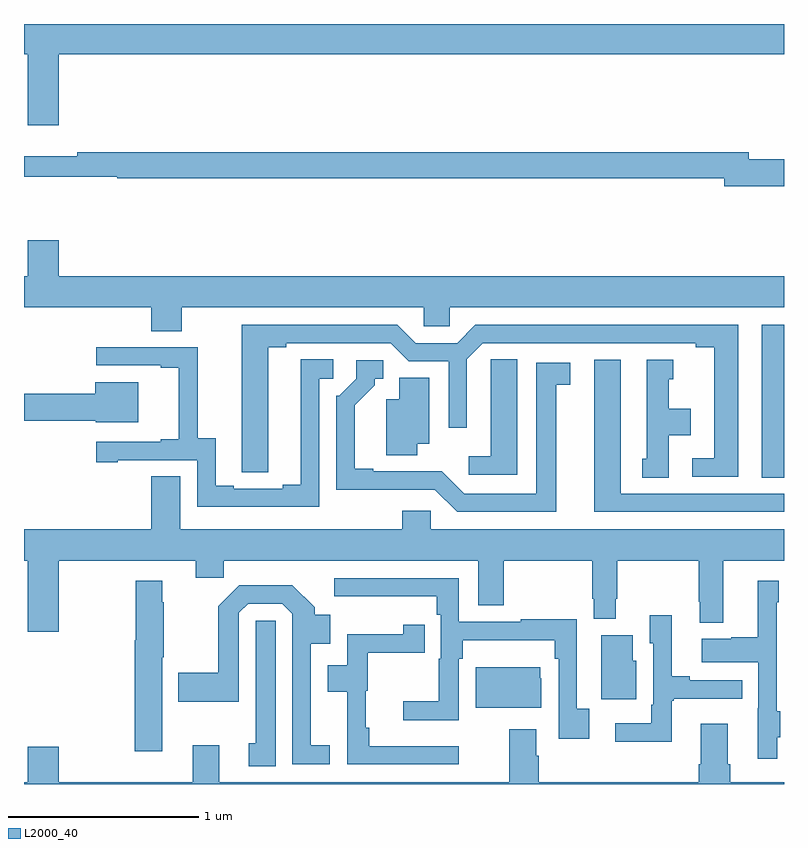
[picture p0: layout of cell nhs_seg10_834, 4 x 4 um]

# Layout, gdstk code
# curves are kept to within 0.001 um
import gdstk
lib = gdstk.Library(unit=1e-6, precision=1e-09)
def R(c, l, rs):  # rectangles x0, y0, x1, y1
    for r in rs: c.add(gdstk.rectangle(r[:2], r[2:], *l))
def P(c, l, *ps):  # polygons
    for p in ps: c.add(gdstk.Polygon(p, *l))
L2000_40 = (2000, 40)

nhs_seg10_834 = lib.new_cell('nhs_seg10_834')
R(nhs_seg10_834, L2000_40, [(156.884,1274.113,157,1274.916)])
P(nhs_seg10_834, L2000_40, [(153,1276.34),(153.02,1276.34),(153.02,1275.966),(153.184,1275.966),(153.184,1276.34),(157,1276.34),(157,1276.5),(153,1276.5)],
  [(157,1275.788),(156.814,1275.788),(156.814,1275.824),(153.28,1275.824),(153.28,1275.805),(153,1275.805),(153,1275.696),(153.49,1275.696),(153.49,1275.688),(156.686,1275.688),(156.686,1275.646),(157,1275.646)],
  [(153.831,1275.008),(155.103,1275.008),(155.103,1274.91),(155.241,1274.91),(155.241,1275.008),(157,1275.008),(157,1275.172),(153.184,1275.172),(153.184,1275.361),(153.02,1275.361),(153.02,1275.172),(153,1275.172),(153,1275.008),(153.671,1275.008),(153.671,1274.884),(153.831,1274.884)],
  [(156.76,1274.916),(155.375,1274.916),(155.279,1274.82),(155.061,1274.82),(154.965,1274.916),(154.145,1274.916),(154.146,1274.14),(154.285,1274.14),(154.285,1274.8),(154.381,1274.8),(154.381,1274.82),(154.929,1274.82),(155.025,1274.724),(155.235,1274.724),(155.235,1274.376),(155.331,1274.376),(155.331,1274.736),(155.415,1274.82),(156.536,1274.82),(156.536,1274.8),(156.632,1274.8),(156.632,1274.214),(156.516,1274.214),(156.516,1274.118),(156.76,1274.118)],
  [(154.554,1274.634),(154.627,1274.634),(154.627,1274.735),(154.457,1274.735),(154.457,1274.075),(154.361,1274.075),(154.361,1274.055),(154.105,1274.055),(154.105,1274.07),(154.009,1274.07),(154.009,1274.321),(153.915,1274.321),(153.915,1274.799),(153.381,1274.799),(153.381,1274.703),(153.719,1274.703),(153.719,1274.691),(153.815,1274.691),(153.815,1274.314),(153.719,1274.314),(153.719,1274.301),(153.381,1274.301),(153.381,1274.193),(153.493,1274.193),(153.493,1274.205),(153.912,1274.205),(153.912,1273.959),(154.554,1273.959)],
  [(155.596,1274.735),(155.457,1274.735),(155.457,1274.627),(155.456,1274.627),(155.456,1274.224),(155.34,1274.224),(155.34,1274.127),(155.596,1274.127)],
  [(157,1274.028),(156.142,1274.028),(156.142,1274.734),(156.002,1274.734),(156.002,1273.932),(157,1273.932)],
  [(156.394,1274.336),(156.508,1274.336),(156.508,1274.476),(156.394,1274.476),(156.394,1274.631),(156.418,1274.631),(156.418,1274.734),(156.278,1274.734),(156.278,1274.211),(156.254,1274.211),(156.254,1274.113),(156.394,1274.113)],
  [(155.8,1274.602),(155.875,1274.602),(155.875,1274.718),(155.696,1274.718),(155.696,1274.028),(155.316,1274.028),(155.198,1274.146),(154.837,1274.145),(154.837,1274.158),(154.741,1274.158),(154.741,1274.494),(154.846,1274.599),(154.846,1274.634),(154.891,1274.634),(154.891,1274.73),(154.749,1274.73),(154.749,1274.634),(154.659,1274.544),(154.644,1274.544),(154.644,1274.048),(155.163,1274.049),(155.28,1273.932),(155.8,1273.932)],
  [(155.071,1274.291),(155.134,1274.291),(155.134,1274.639),(154.976,1274.639),(154.976,1274.524),(154.907,1274.524),(154.907,1274.23),(155.071,1274.23)],
  [(153.601,1274.614),(153.374,1274.614),(153.374,1274.553),(153,1274.553),(153,1274.411),(153.378,1274.411),(153.378,1274.405),(153.601,1274.405)],
  [(153.184,1273.676),(153.905,1273.676),(153.905,1273.586),(154.052,1273.586),(154.052,1273.676),(155.39,1273.676),(155.39,1273.44),(155.526,1273.44),(155.526,1273.676),(155.992,1273.676),(155.992,1273.474),(155.999,1273.474),(155.999,1273.369),(156.115,1273.369),(156.115,1273.474),(156.123,1273.474),(156.123,1273.676),(156.55,1273.676),(156.55,1273.459),(156.557,1273.459),(156.557,1273.349),(156.679,1273.349),(156.679,1273.676),(157,1273.676),(157,1273.84),(155.142,1273.84),(155.142,1273.938),(154.991,1273.938),(154.991,1273.84),(153.823,1273.84),(153.823,1274.12),(153.671,1274.12),(153.671,1273.84),(153,1273.84),(153,1273.676),(153.02,1273.676),(153.02,1273.302),(153.184,1273.302)],
  [(155.974,1272.897),(155.91,1272.897),(155.91,1273.366),(155.614,1273.366),(155.614,1273.353),(155.289,1273.353),(155.289,1273.584),(154.632,1273.584),(154.632,1273.487),(155.173,1273.487),(155.173,1273.391),(155.193,1273.391),(155.193,1273.16),(155.183,1273.16),(155.183,1272.936),(154.995,1272.936),(154.995,1272.836),(155.289,1272.836),(155.289,1273.16),(155.309,1273.16),(155.309,1273.256),(155.794,1273.256),(155.794,1273.16),(155.814,1273.16),(155.814,1272.738),(155.974,1272.738)],
  [(156.965,1272.745),(156.98,1272.745),(156.98,1272.884),(156.961,1272.884),(156.961,1273.457),(156.973,1273.457),(156.973,1273.57),(156.863,1273.57),(156.863,1273.272),(156.723,1273.272),(156.723,1273.264),(156.567,1273.264),(156.567,1273.142),(156.864,1273.142),(156.864,1272.899),(156.863,1272.899),(156.863,1272.633),(156.965,1272.633)],
  [(153.727,1273.168),(153.735,1273.168),(153.735,1273.457),(153.727,1273.457),(153.727,1273.57),(153.589,1273.57),(153.589,1273.257),(153.584,1273.257),(153.584,1272.672),(153.727,1272.672)],
  [(154.609,1272.704),(154.509,1272.704),(154.509,1273.238),(154.612,1273.238),(154.612,1273.39),(154.529,1273.39),(154.529,1273.429),(154.412,1273.546),(154.132,1273.546),(154.023,1273.436),(154.023,1273.085),(153.812,1273.085),(153.812,1272.932),(154.131,1272.932),(154.131,1273.401),(154.179,1273.449),(154.359,1273.449),(154.413,1273.395),(154.413,1272.603),(154.609,1272.603)],
  [(156.409,1272.939),(156.421,1272.939),(156.421,1272.95),(156.779,1272.95),(156.779,1273.047),(156.505,1273.047),(156.505,1273.067),(156.409,1273.067),(156.409,1273.387),(156.293,1273.387),(156.293,1273.242),(156.312,1273.242),(156.312,1272.916),(156.3,1272.916),(156.3,1272.819),(156.111,1272.819),(156.111,1272.722),(156.409,1272.722)],
  [(154.324,1273.359),(154.22,1273.359),(154.22,1272.714),(154.184,1272.714),(154.184,1272.594),(154.324,1272.594)],
  [(155.287,1272.7),(154.817,1272.7),(154.817,1272.796),(154.799,1272.796),(154.799,1272.99),(154.81,1272.99),(154.81,1273.19),(155.108,1273.19),(155.108,1273.339),(154.997,1273.339),(154.997,1273.289),(154.701,1273.289),(154.701,1273.126),(154.598,1273.126),(154.598,1272.986),(154.701,1272.986),(154.701,1272.603),(155.287,1272.603)],
  [(156.223,1273.149),(156.205,1273.149),(156.205,1273.284),(156.038,1273.284),(156.038,1273.048),(156.039,1273.048),(156.039,1272.945),(156.223,1272.945)],
  [(155.722,1273.056),(155.716,1273.056),(155.716,1273.114),(155.378,1273.114),(155.378,1272.902),(155.722,1272.902)],
  [(157,1272.508),(156.716,1272.508),(156.716,1272.604),(156.703,1272.604),(156.703,1272.817),(156.563,1272.817),(156.563,1272.604),(156.551,1272.604),(156.551,1272.508),(155.708,1272.508),(155.708,1272.65),(155.695,1272.65),(155.695,1272.787),(155.555,1272.787),(155.555,1272.508),(154.027,1272.508),(154.027,1272.703),(153.887,1272.703),(153.887,1272.508),(153.184,1272.508),(153.184,1272.697),(153.02,1272.697),(153.02,1272.508),(153,1272.508),(153,1272.5),(157,1272.5)])

lib.write_gds('nhs_seg10_834.gds')
